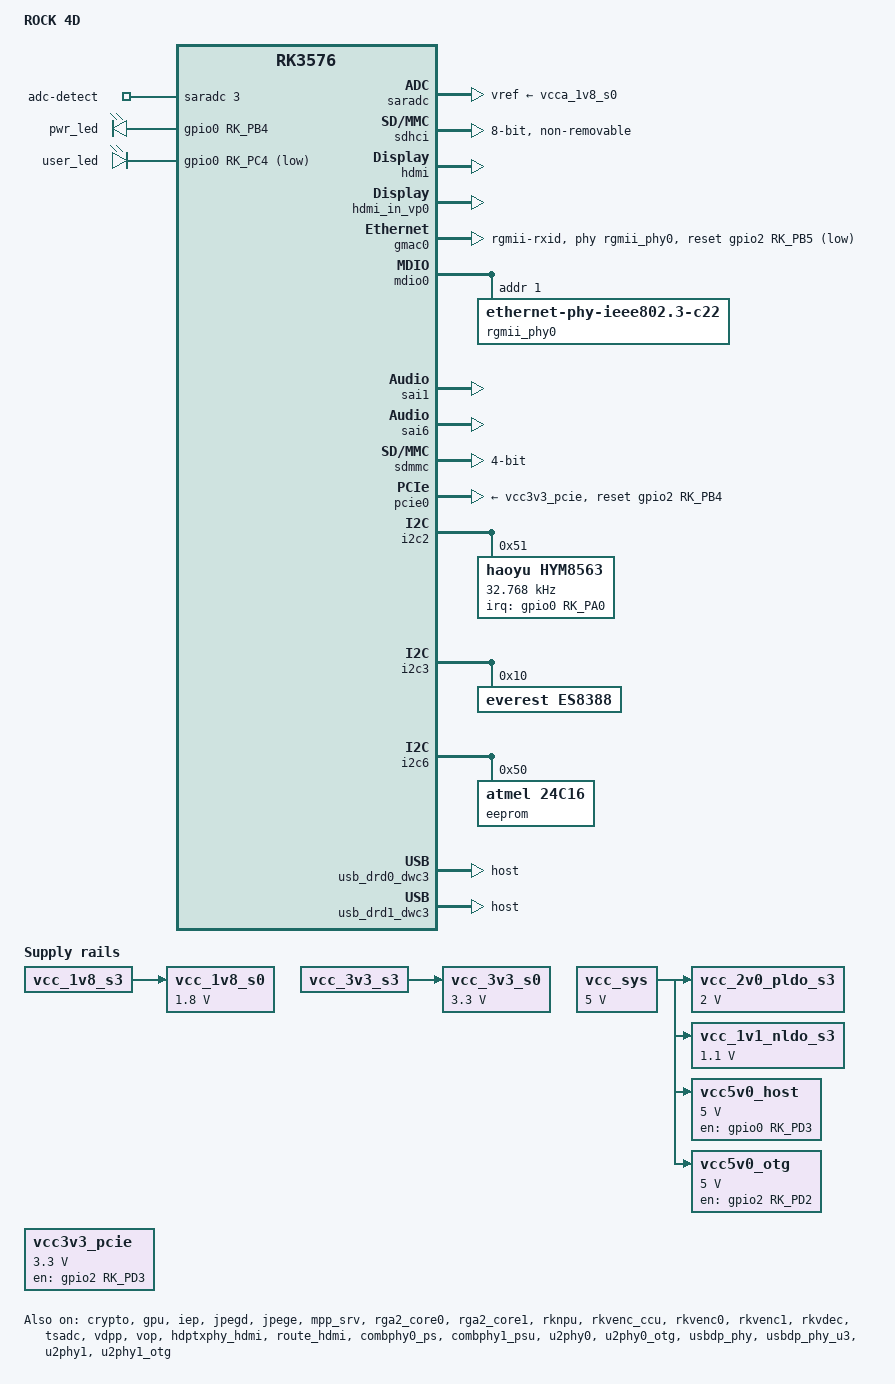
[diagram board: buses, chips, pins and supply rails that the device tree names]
// SPDX-License-Identifier: (GPL-2.0+ OR MIT)
/*
 * Copyright (c) 2024 Rockchip Electronics Co., Ltd.
 * Copyright (c) 2024 Radxa Computer (Shenzhen) Co., Ltd.
 *
 */

/dts-v1/;
#include <dt-bindings/usb/pd.h>
#include <dt-bindings/gpio/gpio.h>
#include <dt-bindings/pwm/pwm.h>
#include <dt-bindings/pinctrl/rockchip.h>
#include <dt-bindings/input/rk-input.h>
#include <dt-bindings/display/drm_mipi_dsi.h>
#include <dt-bindings/display/rockchip_vop.h>
#include <dt-bindings/sensor-dev.h>
#include "rk3576.dtsi"
#include "rk3576-linux.dtsi"
#include "rk3576-rk806.dtsi"

/ {
	model = "ROCK 4D";
	compatible = "radxa,rock-4d", "rockchip,rk3576";

	vcc_sys: vcc5v0-sys {
		compatible = "regulator-fixed";
		regulator-name = "vcc_sys";
		regulator-always-on;
		regulator-boot-on;
		regulator-min-microvolt = <5000000>;
		regulator-max-microvolt = <5000000>;
	};

	vcc_2v0_pldo_s3: vcc-2v0-pldo-s3 {
		compatible = "regulator-fixed";
		regulator-name = "vcc_2v0_pldo_s3";
		regulator-boot-on;
		regulator-always-on;
		regulator-min-microvolt = <2000000>;
		regulator-max-microvolt = <2000000>;
		vin-supply = <&vcc_sys>;
	};

	vcc_1v1_nldo_s3: vcc-1v1-nldo-s3 {
		compatible = "regulator-fixed";
		regulator-name = "vcc_1v1_nldo_s3";
		regulator-boot-on;
		regulator-always-on;
		regulator-min-microvolt = <1100000>;
		regulator-max-microvolt = <1100000>;
		vin-supply = <&vcc_sys>;
	};

	vcc_1v8_s0: vcc-1v8-s0 {
		compatible = "regulator-fixed";
		regulator-name = "vcc_1v8_s0";
		regulator-boot-on;
		regulator-always-on;
		regulator-min-microvolt = <1800000>;
		regulator-max-microvolt = <1800000>;
		vin-supply = <&vcc_1v8_s3>;
	};

	vcc_3v3_s0: vcc-3v3-s0 {
		compatible = "regulator-fixed";
		regulator-name = "vcc_3v3_s0";
		regulator-boot-on;
		regulator-always-on;
		regulator-min-microvolt = <3300000>;
		regulator-max-microvolt = <3300000>;
		vin-supply = <&vcc_3v3_s3>;
	};

	vcc5v0_host: vcc5v0-host {
		compatible = "regulator-fixed";
		regulator-name = "vcc5v0_host";
		regulator-boot-on;
		regulator-always-on;
		regulator-min-microvolt = <5000000>;
		regulator-max-microvolt = <5000000>;
		enable-active-high;
		gpio = <&gpio0 RK_PD3 GPIO_ACTIVE_HIGH>;
		pinctrl-names = "default";
		pinctrl-0 = <&usb_host_pwren>;
		vin-supply = <&vcc_sys>;
	};

	vcc5v0_otg: vcc5v0-otg {
		compatible = "regulator-fixed";
		regulator-name = "vcc5v0_otg";
		regulator-min-microvolt = <5000000>;
		regulator-max-microvolt = <5000000>;
		enable-active-high;
		gpio = <&gpio2 RK_PD2 GPIO_ACTIVE_HIGH>;
		pinctrl-names = "default";
		pinctrl-0 = <&usb_otg_pwren>;
		vin-supply = <&vcc_sys>;
	};

	vcc3v3_pcie: vcc3v3-pcie {
		compatible = "regulator-fixed";
		regulator-name = "vcc3v3_pcie";
		regulator-min-microvolt = <3300000>;
		regulator-max-microvolt = <3300000>;
		enable-active-high;
		gpios = <&gpio2 RK_PD3 GPIO_ACTIVE_HIGH>;
		startup-delay-us = <5000>;
		pinctrl-names = "default";
		pinctrl-0 = <&pcie_pwr_en>;
	};

	hdmi_sound: hdmi-sound {
		compatible = "rockchip,hdmi";
		rockchip,mclk-fs = <128>;
		rockchip,card-name = "rockchip-hdmi";
		rockchip,cpu = <&sai6>;
		rockchip,codec = <&hdmi>;
		rockchip,jack-det;
	};

	es8388_sound: es8388-sound {
		status = "okay";
		compatible = "rockchip,multicodecs-card";
		rockchip,card-name = "rockchip-es8388";
		//hp-det-gpio = <&gpio4 RK_PA4 GPIO_ACTIVE_LOW>;
		io-channels = <&saradc 3>;
		io-channel-names = "adc-detect";
		keyup-threshold-microvolt = <1800000>;
		poll-interval = <100>;
		//spk-con-gpio = <&gpio4 RK_PB1 GPIO_ACTIVE_HIGH>;
		//hp-con-gpio = <&gpio4 RK_PB0 GPIO_ACTIVE_HIGH>;
		rockchip,pre-power-on-delay-ms = <30>;
		rockchip,post-power-down-delay-ms = <40>;
		rockchip,format = "i2s";
		rockchip,mclk-fs = <256>;
		rockchip,cpu = <&sai1>;
		rockchip,codec = <&es8388>;
		rockchip,audio-routing =
			"Headphone", "LOUT1",
			"Headphone", "ROUT1",
			"Speaker", "LOUT2",
			"Speaker", "ROUT2",
			"Headphone", "Headphone Power",
			"Headphone", "Headphone Power",
			"Speaker", "Speaker Power",
			"Speaker", "Speaker Power",
			"LINPUT1", "Main Mic",
			"LINPUT2", "Main Mic",
			"RINPUT1", "Headset Mic",
			"RINPUT2", "Headset Mic";
		// pinctrl-names = "default";
		// pinctrl-0 = <&hp_det>;
		// play-pause-key {
		// 	label = "playpause";
		// 	linux,code = <KEY_PLAYPAUSE>;
		// 	press-threshold-microvolt = <2000>;
		// };
	};

	leds: leds {
		compatible = "gpio-leds";
		pwr_led: pwr-led {
			gpios = <&gpio0 RK_PB4 GPIO_ACTIVE_HIGH>;
			linux,default-trigger = "default-on";
		};

		user_led: user-led {
			gpios = <&gpio0 RK_PC4 GPIO_ACTIVE_LOW>;
			linux,default-trigger = "heartbeat";
		};
	};
};

&cpu_l0 {
	cpu-supply = <&vdd_cpu_lit_s0>;
};

&cpu_b0 {
	cpu-supply = <&vdd_cpu_big_s0>;
};

&crypto {
	status = "okay";
};

&gpu {
	mali-supply = <&vdd_gpu_s0>;
	status = "okay";
};

&iep {
	status = "okay";
};

&iep_mmu {
	status = "okay";
};

&jpegd {
	status = "okay";
};

&jpege {
	status = "okay";
};

&jpeg_mmu {
	status = "okay";
};

&mpp_srv {
	status = "okay";
};

&rga2_core0 {
	status = "okay";
};

&rga2_core0_mmu {
	status = "okay";
};

&rga2_core1 {
	status = "okay";
};

&rga2_core1_mmu {
	status = "okay";
};

&rknpu {
	rknpu-supply = <&vdd_npu_s0>;
	status = "okay";
};

&rknpu_mmu {
	status = "okay";
};

&rkvenc_ccu {
	status = "okay";
};

&rkvenc0 {
	status = "okay";
};

&rkvenc0_mmu {
	status = "okay";
};

&rkvenc1 {
	status = "okay";
};

&rkvenc1_mmu {
	status = "okay";
};

&rkvdec {
	status = "okay";
};

&rkvdec_mmu {
	status = "okay";
};

&rockchip_suspend {
	status = "okay";
	rockchip,sleep-debug-en = <1>;

	rockchip,sleep-io-ret-config = <
		(0
		| RKPM_VCCIO3_RET_EN
		)
	>;

	rockchip,regulator-on-before-mem = <&vdd_npu_s0>;
};

&saradc {
	status = "okay";
	vref-supply = <&vcca_1v8_s0>;
};

&tsadc {
	status = "okay";
};

&sdhci {
	bus-width = <8>;
	no-sdio;
	no-sd;
	non-removable;
	max-frequency = <200000000>;
	mmc-hs400-1_8v;
	mmc-hs400-enhanced-strobe;
	full-pwr-cycle-in-suspend;
	status = "okay";
};

&vdpp {
	status = "okay";
};

&vop {
	status = "okay";
	vop-supply = <&vdd_logic_s0>;
};

&vop_mmu {
	status = "okay";
};

&vp2 {
	assigned-clocks = <&cru DCLK_VP2_SRC>;
	assigned-clock-parents = <&cru PLL_VPLL>;
};

&display_subsystem {
	clocks = <&hdptxphy_hdmi>;
	clock-names = "hdmi0_phy_pll";
};

&hdmi {
	status = "okay";
	enable-gpios = <&gpio2 RK_PB0 GPIO_ACTIVE_HIGH>;
	rockchip,sda-falling-delay-ns = <360>;
};

&hdmi_in_vp0 {
	status = "okay";
};

&hdptxphy_hdmi {
	status = "okay";
};

&route_hdmi {
	status = "okay";
	connect = <&vp0_out_hdmi>;
};

&gmac0 {
	/* Use rgmii-rxid mode to disable rx delay inside Soc */
	phy-mode = "rgmii-rxid";
	clock_in_out = "output";

	snps,reset-gpio = <&gpio2 RK_PB5 GPIO_ACTIVE_LOW>;
	snps,reset-active-low;
	/* Reset time is 20ms, 100ms for rtl8211f */
	snps,reset-delays-us = <0 20000 100000>;

	pinctrl-names = "default";
	pinctrl-0 = <&eth0m0_miim
		     &eth0m0_tx_bus2
		     &eth0m0_rx_bus2
		     &eth0m0_rgmii_clk
		     &eth0m0_rgmii_bus
		     &ethm0_clk0_25m_out>;

	tx_delay = <0x20>;
	/* rx_delay = <0x3f>; */

	phy-handle = <&rgmii_phy0>;
	status = "okay";
};

&mdio0 {
	rgmii_phy0: phy@1 {
		compatible = "ethernet-phy-ieee802.3-c22";
		reg = <0x1>;
		clocks = <&cru REFCLKO25M_GMAC0_OUT>;
	};
};

&sai1 {
	status = "okay";
	pinctrl-names = "default";
	pinctrl-0 = <&sai1m0_lrck
		     &sai1m0_sclk
		     &sai1m0_sdi0
		     &sai1m0_sdo0>;
};

&sai6 {
	status = "okay";
};

&sdmmc {
	max-frequency = <200000000>;
	no-sdio;
	no-mmc;
	bus-width = <4>;
	cap-mmc-highspeed;
	cap-sd-highspeed;
	disable-wp;
	sd-uhs-sdr104;
	vqmmc-supply = <&vccio_sd_s0>;
	status = "okay";
};

&combphy0_ps {
	status = "okay";
};

&combphy1_psu {
	status = "okay";
};

&pcie0 {
	reset-gpios = <&gpio2 RK_PB4 GPIO_ACTIVE_HIGH>;
	rockchip,skip-scan-in-resume;
	vpcie3v3-supply = <&vcc3v3_pcie>;
	status = "okay";
};

&i2c2 {
	status = "okay";

	hym8563: hym8563@51 {
		compatible = "haoyu,hym8563";
		reg = <0x51>;
		#clock-cells = <0>;
		clock-frequency = <32768>;
		clock-output-names = "hym8563";
		pinctrl-names = "default";
		pinctrl-0 = <&hym8563_int>;
		interrupt-parent = <&gpio0>;
		interrupts = <RK_PA0 IRQ_TYPE_LEVEL_LOW>;
		wakeup-source;
	};
};

&i2c3 {
	status = "okay";

	es8388: es8388@10 {
		status = "okay";
		#sound-dai-cells = <0>;
		compatible = "everest,es8388", "everest,es8323";
		reg = <0x10>;
		clocks = <&mclkout_sai1>;
		clock-names = "mclk";
		assigned-clocks = <&mclkout_sai1>;
		assigned-clock-rates = <12288000>;
		pinctrl-names = "default";
		pinctrl-0 = <&sai1m0_mclk>;
	};
};

&i2c6 {
	status = "okay";
	pinctrl-names = "default";
	pinctrl-0 = <&i2c6m3_xfer>;

	eeprom:	at24c16@50 {
		status = "okay";
		compatible = "atmel,24c16";
		reg = <0x50>;
		pagesize = <16>;
	};
};

&u2phy0 {
	status = "okay";
};

&u2phy0_otg {
	vbus-supply = <&vcc5v0_otg>;
	status = "okay";
};

&usb_drd0_dwc3 {
	extcon = <&u2phy0>;
	dr_mode = "host";
	status = "okay";
};

&usbdp_phy {
	rockchip,dp-lane-mux = <2 3>;
	status = "okay";
};

&usbdp_phy_u3 {
	status = "okay";
};

&u2phy1 {
	status = "okay";
};

&u2phy1_otg {
	phy-supply = <&vcc5v0_host>;
	status = "okay";
};

&usb_drd1_dwc3 {
	dr_mode = "host";
	status = "okay";
};

&pinctrl {
	usb {
		usb_host_pwren: usb-host-pwren {
			rockchip,pins = <0 RK_PD3 RK_FUNC_GPIO &pcfg_pull_none>;
		};

		usb_otg_pwren: usb-otg-pwren {
			rockchip,pins = <2 RK_PD2 RK_FUNC_GPIO &pcfg_pull_none>;
		};
	};

	hym8563 {
		hym8563_int: hym8563-int {
			rockchip,pins = <0 RK_PA0 RK_FUNC_GPIO &pcfg_pull_up>;
		};
	};

	pcie {
		pcie_pwr_en: pcie-pwr-en {
			rockchip,pins = <2 RK_PD3 RK_FUNC_GPIO &pcfg_pull_none>;
		};
	};
};

//#include "rk3576-rock-4d-camera.dtsi"
//#include "rk3576-rock-4d-radxa-display-10fhd.dtsi"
